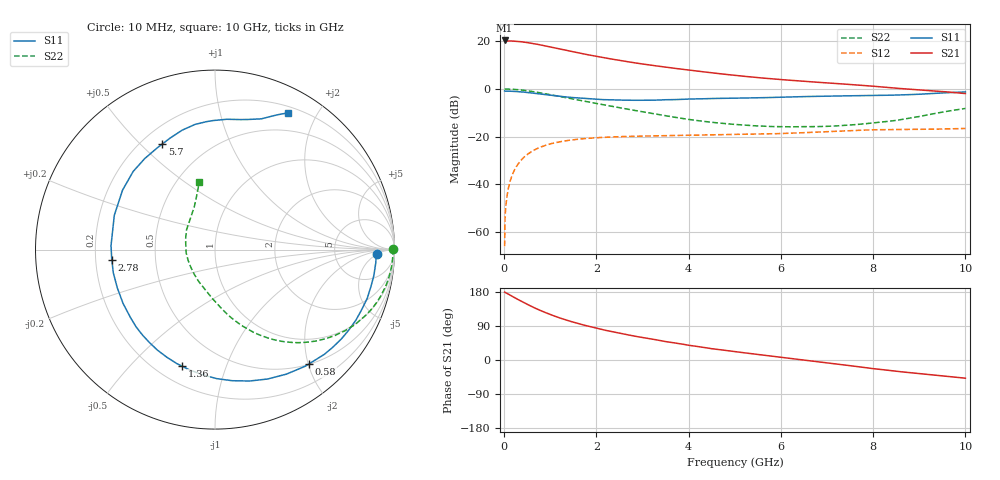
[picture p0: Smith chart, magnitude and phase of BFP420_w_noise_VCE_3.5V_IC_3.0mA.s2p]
! Infineon Technologies  Discrete & RF Semiconductors
! BFP420
! VCE =  3.5 V,  IC =  3.0 mA
! Common Emitter S-Parameters:  Jan 2016
# GHz  S  MA  R  50
!  f  S11  S21  S12  S22
! GHz  MAG  ANG  MAG  ANG  MAG  ANG  MAG  ANG
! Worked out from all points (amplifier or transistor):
!   233 points, 10 MHz to 10 GHz, reference 50 ohm
!   highest |S21| = 20.3 dB at 10 MHz (marker M1)
!   |S21| within 3 dB of that: start of sweep to 1.07 GHz
!   unconditionally stable (mu >= 1): 3.517 GHz to end of sweep
!   at 200 MHz: K = 0.06, MSG = 27.5 dB, |S12| = -35.0 dB
!   at 1.74 GHz: K = 0.45, MSG = 17.8 dB, |S12| = -20.9 dB
!   at 10 GHz: K = 1.17, MAG = 4.9 dB, |S12| = -16.6 dB
!   lowest NFmin = 0.57 dB at 900 MHz
!   S11 on the Smith chart (normalised r, x): 10 MHz: 19, -5; 580 MHz: 0.51, -2.02; 1.36 GHz: 0.30, -0.71; 2.78 GHz: 0.27, -0.05; 5.7 GHz: 0.28, +0.58; 10 GHz: 0.27, +1.64
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0.01  0.9043 -1.4  10.4 179.1  0.0005 61.3  0.9909 0.2
0.02  0.8982 -1.7  10.13 178.7  0.002 76.3  0.9913 -0.9
0.03  0.8982 -2.6  10.14 178.0  0.0029 79.5  0.9912 -1.4
0.13  0.894 -11.6  10.17 171.2  0.0116 82.0  0.9866 -6.4
0.2  0.8905 -17.8  10.1 166.4  0.0178 79.5  0.9795 -9.8
0.36  0.868 -31.9  9.783 155.9  0.0313 72.2  0.9507 -17.5
0.58  0.8247 -50.5  9.127 142.2  0.0474 62.6  0.8917 -27.1
0.7  0.8 -60.1  8.723 135.3  0.0551 57.9  0.8544 -31.9
0.9  0.7572 -75.2  7.975 124.8  0.0655 50.9  0.7891 -39.1
1.18  0.703 -94.6  6.984 112.1  0.0768 42.6  0.6997 -47.8
1.36  0.6746 -105.9  6.412 104.9  0.0821 38.1  0.6473 -52.6
1.68  0.6352 -124.3  5.545 93.7  0.0894 31.6  0.5643 -59.9
1.92  0.6132 -136.5  4.985 86.2  0.0933 27.4  0.5105 -64.8
2.2  0.5935 -149.7  4.45 78.3  0.0968 23.4  0.4557 -69.9
2.78  0.5777 -174.2  3.589 64.1  0.1013 16.7  0.3604 -79.9
3.4  0.5861 164.4  2.948 51.0  0.104 11.6  0.2834 -91.0
4.2  0.6168 142.8  2.358 35.5  0.1074 6.9  0.2157 -109.1
5.1  0.6419 126.1  1.882 20.5  0.111 3.1  0.1765 -132.4
5.7  0.6573 116.6  1.66 11.6  0.1138 1.2  0.1634 -149.4
6.8  0.6988 101.5  1.378 -4.6  0.1241 -2.4  0.1619 178.5
8.4  0.7385 78.8  1.054 -28.3  0.1399 -13.1  0.2123 132.4
10  0.8648 61.8  0.799 -48.0  0.1476 -20.8  0.3892 102.9
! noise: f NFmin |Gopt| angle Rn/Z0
0.9  0.57  0.35  33  0.18
1.8  1.02  0.2  79  0.14
2.4  1.1  0.23  104  0.14
3  1.25  0.24  144  0.11
4  1.46  0.33  -159  0.1
5  1.9  0.39  -128  0.22
6  2.46  0.48  -107  0.35
